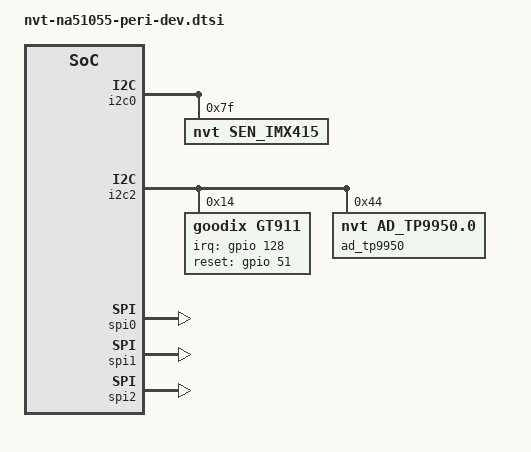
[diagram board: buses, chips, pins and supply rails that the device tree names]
/*
 * Novatek Ltd. NA51055 BSP part of dts
 *
 * Cortex-A9
 *
 */


#include <dt-bindings/gpio/nvt-gpio.h>

&i2c0 {
	#address-cells = <1>;
	#size-cells = <0>;
	sen_imx415@0 {
		compatible = "nvt,sen_imx415";
		reg = <0x7F>;                       /* dummy addr */
		path = <0>;
		PRESET {
			expt_time = <10000>;            /* 10000us */
			gain_ratio = <1000>;            /* 1x gain */        
		};
		DIRECTION {
			mirror = <0>;                   /* mirror */
			flip = <0>;                     /* no flip */
		};
		POWER {
			mclk = <0>;                     /* CTL_SEN_CLK_SEL_SIEMCLK */
			pwdn_pin = <0xFFFFFFFF>;        /* no pwdn pin */   
			rst_pin = <S_GPIO(4)>;          /* S_GPIO_4 */
			rst_time = <1>;                 /* 1ms */
			stable_time = <1>;              /* 1ms */
		};
		I2C {
			i2c_id = <0>;                   /* SEN_I2C_ID_1 */
			i2c_addr = <0x1A>;              /* 0x34 >> 1  = 0x1A */
		};
	};
};

&i2c1 {
	#address-cells = <1>;
	#size-cells = <0>;
};

&i2c2 {
	#address-cells = <1>;
	#size-cells = <0>;
	//#cxm add begin
	gt911@14{
		compatible = "goodix,gt911";
		reg = <0x14>;
		//interrupts-extended = <&gpio 32 0>;
		irq-gpios = <&gpio 128 0>;        //D_GPIO_0 PAD:164  P_GPIO_NO.+32 D_GPIO_NO.+128
		reset-gpios = <&gpio 51 0>;      //P_GPIO_19 PAD:166  P_GPIO_NO.+32
	};
	//#cxm add end
	
	ad_tp9950@0 {
		compatible = "nvt,ad_tp9950.0";
		reg = <0x44>;
		power_cfg {
			mclk_sel = "MCLK3";						// ex : "MCLK" or "MCLK2" or "MCLK3"

			///////////////////////////////////////////////////////////////////////////////////////////////////
			// io control description                                                                        //
			// io_ctl0@0~19(max) = <io_pin      level   hold time>                                              //
			//   io_pin - (3 types)                                                                          //
			//     1. pin name (ex. S_GPIO(4), PGPIO(0), ...)                                                //
			//     2. 0xfffe: the following commands will only applied on 'power on' sequence (default)      //
			//     3. 0xfffd: the following commands will only applied on 'power off' sequence               //
			//   level - 1: pull high, 0: pull low                                                           //
			//   hold time - delay time (us)                                                                 //
			///////////////////////////////////////////////////////////////////////////////////////////////////
			//// power on ////
			io_ctl0 = <0xfffe		0 0>;			// power on sqeuence indicator
			// turn on power pin
			io_ctl1 = <0xfffe	1 10000>;			// io control description @0~19(max) = <io_pin, level(high(1) or low(0), hold time(us)>
			io_ctl2 = <0xfffe	1 10000>;			// io control description @0~19(max) = <io_pin, level(high(1) or low(0), hold time(us)>

			// reset flow
			io_ctl3 = <P_GPIO(11)	0 20000>;		// io control description @0~19(max) = <io_pin, level(high(1) or low(0), hold time(us)>
			io_ctl4 = <P_GPIO(11)	1 20000>;		// io control description @0~19(max) = <io_pin, level(high(1) or low(0), hold time(us)>

			//// power off ////
			io_ctl5 = <0xfffd		0 0>;			// power off sequence indicator
			io_ctl6 = <0xfffd	0 10>;			// turn off AHD5V_EN
			io_ctl7 = <0xfffd	0 10>;			// set tp9950 in reset state
			io_ctl8 = <0xfffd	0 10>;
		};
		outport@0 {
		inport = <0>;
		signal = <0>;/*0:parallel 1:mipi*/
		};
	};
};

&spi0 {
	status = "okay";
	#address-cells = <1>;
	#size-cells = <0>;

/*	dummy_spi_dev: dummy_spi_dev@0 {
		compatible = "dummy_spi_dev.0";
		reg = <0>; // Chip select 0
		spi-max-frequency = <1000000>;
		spi-cpol;
        };
*/
};

&spi1 {
	status = "okay";
};

&spi2 {
	status = "okay";
};
